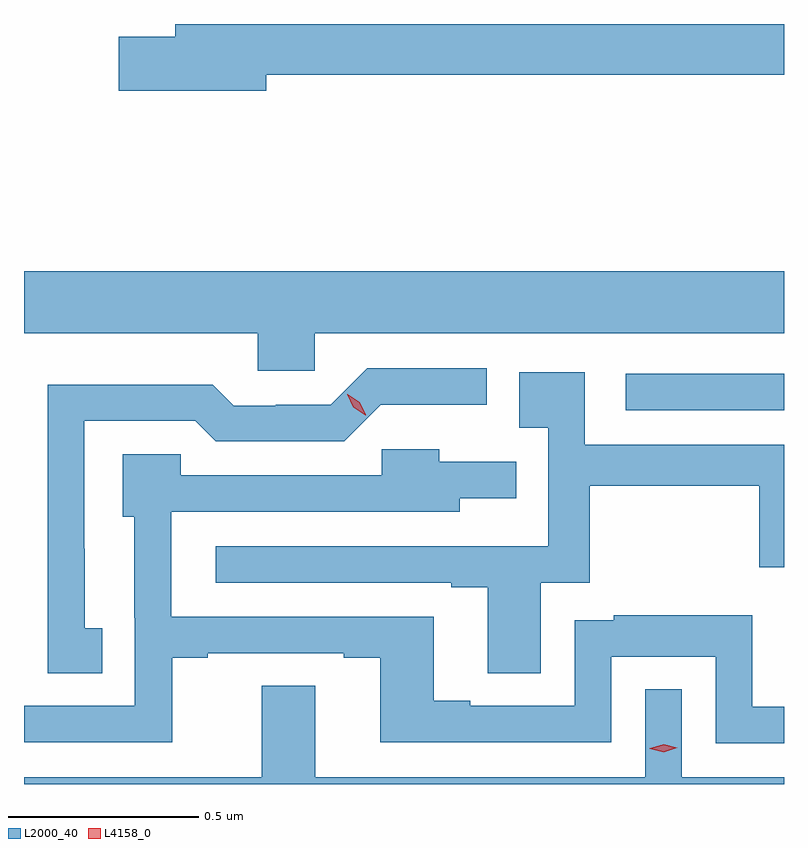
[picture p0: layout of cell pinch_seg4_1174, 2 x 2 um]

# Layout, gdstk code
import gdstk
lib = gdstk.Library(unit=1e-6, precision=1e-09)
def R(c, l, rs):  # rectangles x0, y0, x1, y1
    for r in rs: c.add(gdstk.rectangle(r[:2], r[2:], *l))
def P(c, l, *ps):  # polygons
    for p in ps: c.add(gdstk.Polygon(p, *l))
L2000_40 = (2000, 40)
L4158_0 = (4158, 0)

pinch_seg4_1174 = lib.new_cell('pinch_seg4_1174')
R(pinch_seg4_1174, L2000_40, [(471.033,777.969,471.449,778.065)])
P(pinch_seg4_1174, L2000_40, [(470.086,778.852),(471.449,778.852),(471.449,778.986),(469.847,778.986),(469.847,778.952),(469.698,778.952),(469.698,778.81),(470.086,778.81)],
  [(470.214,778.172),(471.449,778.172),(471.449,778.336),(469.449,778.336),(469.449,778.172),(470.064,778.172),(470.064,778.074),(470.214,778.074)],
  [(469.655,777.396),(469.609,777.396),(469.609,777.605),(469.608,777.605),(469.608,777.942),(469.899,777.942),(469.953,777.888),(470.292,777.888),(470.388,777.984),(470.667,777.984),(470.667,778.08),(470.352,778.08),(470.256,777.984),(470.111,777.984),(470.111,777.981),(470.001,777.981),(469.946,778.037),(469.512,778.037),(469.512,777.277),(469.655,777.277)],
  [(470.809,777.516),(470.938,777.516),(470.938,777.771),(471.384,777.771),(471.384,777.557),(471.449,777.557),(471.449,777.879),(470.925,777.879),(470.925,778.069),(470.752,778.069),(470.752,777.923),(470.829,777.923),(470.829,777.612),(469.953,777.612),(469.953,777.516),(470.573,777.516),(470.573,777.504),(470.669,777.504),(470.669,777.277),(470.809,777.277)],
  [(471.449,777.189),(471.366,777.189),(471.366,777.43),(471.001,777.43),(471.001,777.417),(470.898,777.417),(470.898,777.192),(470.623,777.192),(470.623,777.205),(470.527,777.205),(470.527,777.426),(469.836,777.426),(469.836,777.702),(470.596,777.702),(470.596,777.738),(470.744,777.738),(470.744,777.834),(470.542,777.834),(470.542,777.867),(470.391,777.867),(470.391,777.798),(469.861,777.798),(469.861,777.854),(469.709,777.854),(469.709,777.689),(469.739,777.689),(469.739,777.423),(469.74,777.423),(469.74,777.192),(469.449,777.192),(469.449,777.096),(469.839,777.096),(469.839,777.318),(469.933,777.318),(469.933,777.33),(470.291,777.33),(470.291,777.318),(470.387,777.318),(470.387,777.096),(470.994,777.096),(470.994,777.321),(471.27,777.321),(471.27,777.093),(471.449,777.093)],
  [(471.449,777.004),(471.18,777.004),(471.18,777.236),(471.084,777.236),(471.084,777.004),(470.215,777.004),(470.215,777.245),(470.075,777.245),(470.075,777.004),(469.449,777.004),(469.449,776.986),(471.449,776.986)])
P(pinch_seg4_1174, L4158_0, [(471.132,777.07),(471.096,777.079),(471.096,777.08),(471.096,777.08),(471.132,777.09),(471.168,777.081),(471.168,777.081),(471.168,777.081)],
  [(470.347,777.957),(470.316,777.978),(470.3,778.012),(470.3,778.012),(470.301,778.012),(470.332,777.991),(470.348,777.958),(470.348,777.957)])

lib.write_gds('pinch_seg4_1174.gds')
